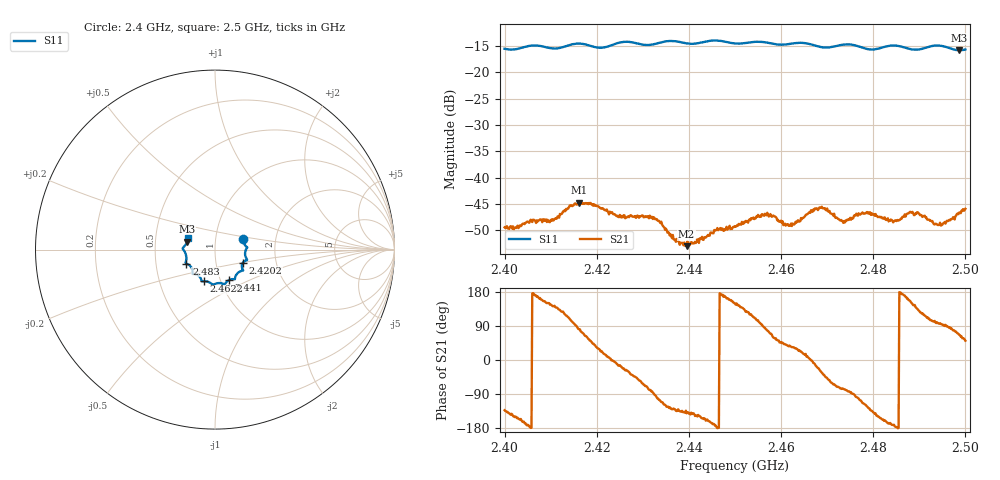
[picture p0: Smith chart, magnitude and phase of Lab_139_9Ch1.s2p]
# Hz S RI R 50
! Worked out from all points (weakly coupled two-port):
!   601 points, 2.4 GHz to 2.5 GHz, reference 50 ohm
!   highest |S21| = -44.71 dB at 2.4162 GHz (marker M1); lowest = -53.0 dB at 2.4395 GHz (marker M2)
!   lowest |S11| = -15.8 dB at 2.4987 GHz (marker M3), VSWR 1.39, Z = 36.4 + j3.3 ohm
!   |S11| at or under -10 dB: start of sweep to end of sweep
!   S12 and S22 are empty: the file has one direction only
!   S11 on the Smith chart (normalised r, x): 2.4 GHz: 1.36, +0.17; 2.4202 GHz: 1.35, -0.20; 2.441 GHz: 1.10, -0.39; 2.4622 GHz: 0.83, -0.30; 2.483 GHz: 0.72, -0.12; 2.5 GHz: 0.73, +0.09
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2.4e9  0.1563 0.0604  -0.00229 -0.00249  0 0  0 0
2.410167e9  0.1691 -0.00925  -0.00322 0.00223  0 0  0 0
2.416167e9  0.1788 -0.0577  0.000908 0.00574  0 0  0 0
2.416667e9  0.1777 -0.0583  0.00155 0.00547  0 0  0 0
2.420167e9  0.1561 -0.072  0.00464 0.0028  0 0  0 0
2.433333e9  0.113 -0.1524  -0.000814 -0.00381  0 0  0 0
2.436667e9  0.1093 -0.1656  -0.00162 -0.00206  0 0  0 0
2.4395e9  0.0913 -0.1652  -0.00174 -0.00142  0 0  0 0
2.441e9  0.077 -0.1703  -0.00184 -0.00152  0 0  0 0
2.45e9  0.0266 -0.1864  -0.00297 0.00181  0 0  0 0
2.4565e9  -0.016 -0.1926  0.000413 0.00454  0 0  0 0
2.462167e9  -0.063 -0.1764  0.00302 0.00212  0 0  0 0
2.466667e9  -0.0765 -0.1671  0.00492 -0.000125  0 0  0 0
2.469e9  -0.0879 -0.149  0.00418 -0.00299  0 0  0 0
2.473333e9  -0.1223 -0.1363  0.00101 -0.00376  0 0  0 0
2.478833e9  -0.1289 -0.1048  -0.00263 -0.00377  0 0  0 0
2.483e9  -0.1591 -0.0781  -0.00391 -0.00108  0 0  0 0
2.483333e9  -0.1607 -0.0773  -0.00375 -0.000911  0 0  0 0
2.488167e9  -0.1595 -0.0459  -0.00421 0.00216  0 0  0 0
2.4945e9  -0.1792 0.00872  -0.000463 0.00372  0 0  0 0
2.498667e9  -0.1557 0.0441  0.00189 0.0043  0 0  0 0
2.5e9  -0.1527 0.0626  0.00319 0.00395  0 0  0 0
